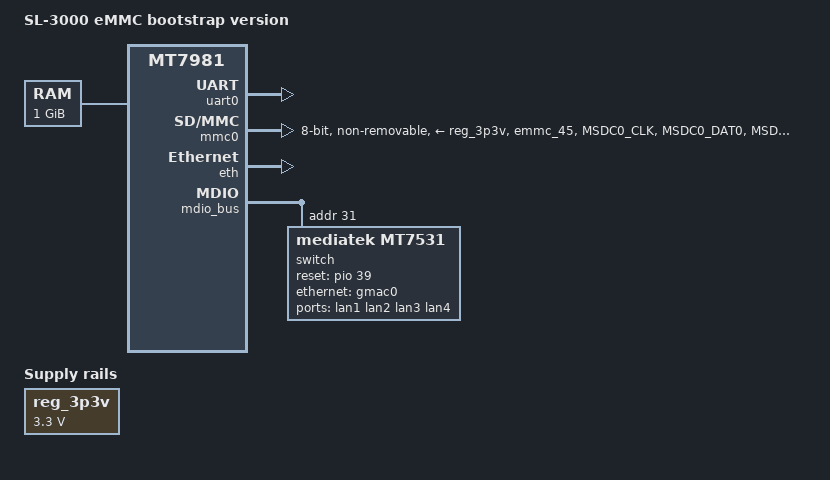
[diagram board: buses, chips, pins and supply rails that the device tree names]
// SPDX-License-Identifier: (GPL-2.0 OR MIT)
/dts-v1/;
#include "mt7981b.dtsi"
#include <dt-bindings/gpio/gpio.h>
#include <dt-bindings/input/input.h>
#include <dt-bindings/interrupt-controller/irq.h>
#include <dt-bindings/pinctrl/mt65xx.h>

/ {
	model = "SL-3000 eMMC bootstrap version";
	compatible = "sl,3000-emmc", "mediatek,mt7981";

	aliases {
		serial0 = &uart0;
	};

	chosen {
		stdout-path = "serial0:115200n8";
		bootargs-append = " root=/dev/mmcblk0p65 rootwait";
	};

	memory@40000000 {
		device_type = "memory";
		reg = <0 0x40000000 0 0x40000000>; // 1GB RAM
	};

	reg_3p3v: regulator-3p3v {
		compatible = "regulator-fixed";
		regulator-name = "fixed-3.3V";
		regulator-min-microvolt = <3300000>;
		regulator-max-microvolt = <3300000>;
		regulator-boot-on;
		regulator-always-on;
	};
};

&uart0 {
	status = "okay";
};

&pio {
	// 🎯 物理对齐：根据导出数据锁定 emmc_45 组
	mmc0_pins_default: mmc0-pins-default {
		mux {
			function = "flash";
			groups = "emmc_45";
		};
		conf-clk {
			pins = "MSDC0_CLK";
			drive-strength = <MTK_DRIVE_12mA>;
			bias-pull-down = <MTK_PUPD_SET_R1R0_00>;
		};
		conf-dat {
			pins = "MSDC0_DAT0", "MSDC0_DAT1", "MSDC0_DAT2", "MSDC0_DAT3",
			       "MSDC0_DAT4", "MSDC0_DAT5", "MSDC0_DAT6", "MSDC0_DAT7",
			       "MSDC0_CMD", "MSDC0_DSL";
			drive-strength = <MTK_DRIVE_12mA>;
			bias-pull-up = <MTK_PUPD_SET_R1R0_01>;
		};
	};
};

&mmc0 {
	pinctrl-names = "default";
	pinctrl-0 = <&mmc0_pins_default>;
	bus-width = <8>;
	max-frequency = <200000000>;
	cap-mmc-highspeed;
	mmc-hs200-1_8v;
	mmc-hs400-1_8v;
	non-removable;
	vmmc-supply = <&reg_3p3v>;
	status = "okay";
};

&eth {
	status = "okay";

	gmac0: mac@0 {
		compatible = "mediatek,eth-mac";
		reg = <0>;
		phy-mode = "2500base-x"; // 🎯 物理对齐导出数据中的 2.5G 定义

		fixed-link {
			speed = <2500>;
			full-duplex;
			pause;
		};
	};

	gmac1: mac@1 {
		compatible = "mediatek,eth-mac";
		reg = <1>;
		phy-mode = "gmii";
		phy-handle = <&int_gbe_phy>;
	};
};

&mdio_bus {
	switch: switch@1f {
		compatible = "mediatek,mt7531";
		reg = <31>;
		reset-gpios = <&pio 39 GPIO_ACTIVE_HIGH>; // 🎯 物理对齐导出数据 0x27 (39)
	};
};

&switch {
	ports {
		#address-cells = <1>;
		#size-cells = <0>;

		port@0 { reg = <0>; label = "lan1"; };
		port@1 { reg = <1>; label = "lan2"; };
		port@2 { reg = <2>; label = "lan3"; };
		port@3 { reg = <3>; label = "lan4"; };

		port@6 {
			reg = <6>;
			ethernet = <&gmac0>;
			phy-mode = "2500base-x";
			fixed-link {
				speed = <2500>;
				full-duplex;
				pause;
			};
		};
	};
};
